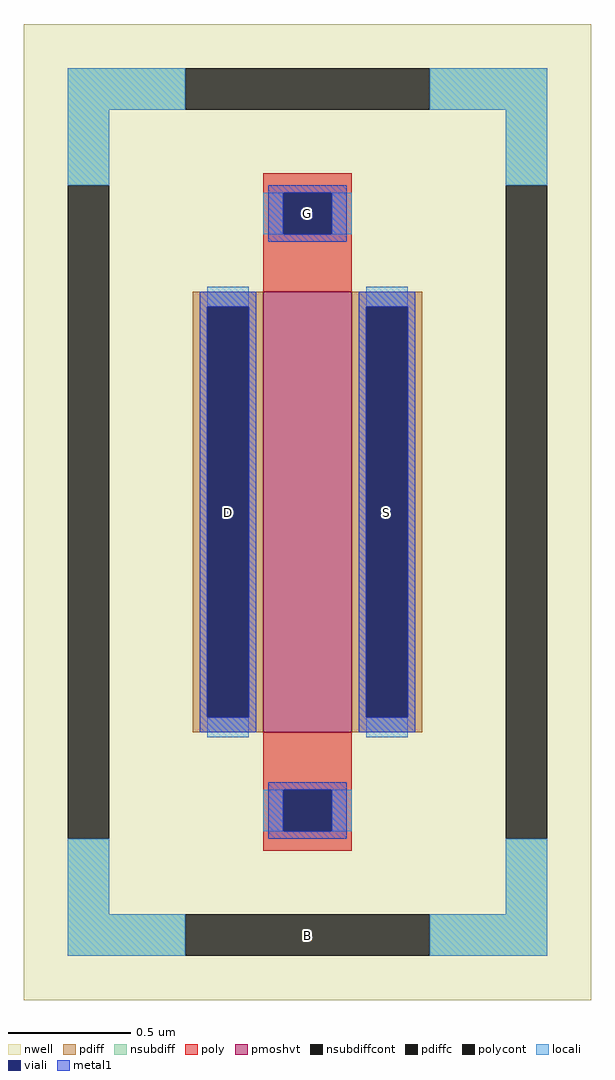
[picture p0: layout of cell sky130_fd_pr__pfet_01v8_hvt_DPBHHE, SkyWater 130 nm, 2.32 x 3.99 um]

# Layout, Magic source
magic
tech sky130A
magscale 1 2
<< nwell >>
rect -232 -399 232 399
<< pmoshvt >>
rect -36 -180 36 180
<< pdiff >>
rect -94 168 -36 180
rect -94 -168 -82 168
rect -48 -168 -36 168
rect -94 -180 -36 -168
rect 36 168 94 180
rect 36 -168 48 168
rect 82 -168 94 168
rect 36 -180 94 -168
<< pdiffc >>
rect -82 -168 -48 168
rect 48 -168 82 168
<< nsubdiff >>
rect -196 329 -100 363
rect 100 329 196 363
rect -196 267 -162 329
rect 162 267 196 329
rect -196 -329 -162 -267
rect 162 -329 196 -267
rect -196 -363 -100 -329
rect 100 -363 196 -329
<< nsubdiffcont >>
rect -100 329 100 363
rect -196 -267 -162 267
rect 162 -267 196 267
rect -100 -363 100 -329
<< poly >>
rect -36 261 36 277
rect -36 227 -20 261
rect 20 227 36 261
rect -36 180 36 227
rect -36 -227 36 -180
rect -36 -261 -20 -227
rect 20 -261 36 -227
rect -36 -277 36 -261
<< polycont >>
rect -20 227 20 261
rect -20 -261 20 -227
<< locali >>
rect -196 329 -100 363
rect 100 329 196 363
rect -196 267 -162 329
rect 162 267 196 329
rect -36 227 -20 261
rect 20 227 36 261
rect -82 168 -48 184
rect -82 -184 -48 -168
rect 48 168 82 184
rect 48 -184 82 -168
rect -36 -261 -20 -227
rect 20 -261 36 -227
rect -196 -329 -162 -267
rect 162 -329 196 -267
rect -196 -363 -100 -329
rect 100 -363 196 -329
<< viali >>
rect -20 227 20 261
rect -82 -168 -48 168
rect 48 -168 82 168
rect -20 -261 20 -227
<< metal1 >>
rect -32 261 32 267
rect -32 227 -20 261
rect 20 227 32 261
rect -32 221 32 227
rect -88 168 -42 180
rect -88 -168 -82 168
rect -48 -168 -42 168
rect -88 -180 -42 -168
rect 42 168 88 180
rect 42 -168 48 168
rect 82 -168 88 168
rect 42 -180 88 -168
rect -32 -227 32 -221
rect -32 -261 -20 -227
rect 20 -261 32 -227
rect -32 -267 32 -261
<< labels >>
rlabel nsubdiffcont 0 -346 0 -346 0 B
port 5 nsew
rlabel pdiffc -65 0 -65 0 0 D
port 6 nsew
rlabel pdiffc 65 0 65 0 0 S
port 7 nsew
rlabel polycont 0 244 0 244 0 G
port 8 nsew
<< properties >>
string FIXED_BBOX -179 -346 179 346
string gencell sky130_fd_pr__pfet_01v8_hvt
string library sky130
string parameters w 1.8 l 0.36 m 1 nf 1 diffcov 100 polycov 100 guard 1 glc 1 grc 1 gtc 1 gbc 1 tbcov 100 rlcov 100 topc 1 botc 1 poverlap 0 doverlap 1 lmin 0.15 wmin 0.42 class mosfet compatible {sky130_fd_pr__pfet_01v8  sky130_fd_pr__pfet_01v8_lvt sky130_fd_pr__pfet_01v8_hvt  sky130_fd_pr__pfet_g5v0d10v5} full_metal 1 conn_gates 0 viasrc 100 viadrn 100 viagate 100 viagb 0 viagr 0 viagl 0 viagt 0 doports 1
<< end >>
